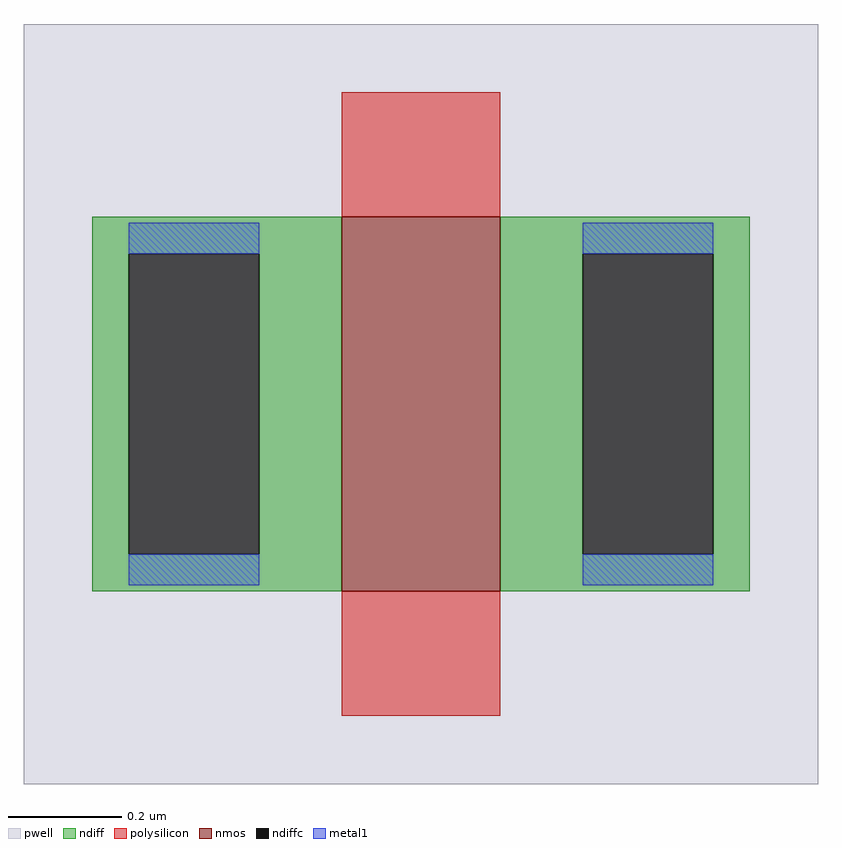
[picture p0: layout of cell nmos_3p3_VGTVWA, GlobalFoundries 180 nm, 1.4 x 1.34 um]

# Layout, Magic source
magic
tech gf180mcuC
magscale 1 10
<< pwell >>
rect -140 -134 140 134
<< nmos >>
rect -28 -66 28 66
<< ndiff >>
rect -116 53 -28 66
rect -116 -53 -103 53
rect -57 -53 -28 53
rect -116 -66 -28 -53
rect 28 53 116 66
rect 28 -53 57 53
rect 103 -53 116 53
rect 28 -66 116 -53
<< ndiffc >>
rect -103 -53 -57 53
rect 57 -53 103 53
<< polysilicon >>
rect -28 66 28 110
rect -28 -110 28 -66
<< metal1 >>
rect -103 53 -57 64
rect -103 -64 -57 -53
rect 57 53 103 64
rect 57 -64 103 -53
<< properties >>
string gencell nmos_3p3
string library gf180mcu
string parameters w 0.660 l 0.280 m 1 nf 1 diffcov 100 polycov 100 guard 0 glc 0 grc 0 gtc 0 gbc 0 tbcov 100 rlcov 100 topc 0 botc 0 poverlap 0 doverlap 1 lmin 0.28 wmin 0.22 full_metal 0 compatible {nmos_3p3 nmos_6p0 nmos_6p0_nat}
<< end >>
